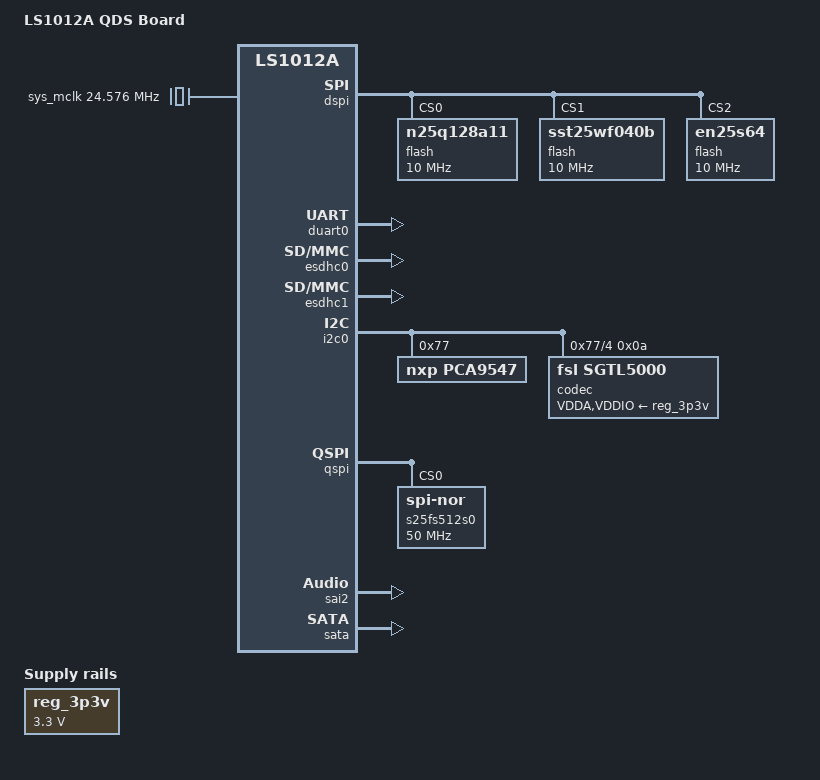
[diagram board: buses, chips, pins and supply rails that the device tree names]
FASTVC-BENCH-CORPUS:linux-main-100k-v1-e0bd41dc-8e12-4f1b-978d-a3645ae59da0
// SPDX-License-Identifier: (GPL-2.0+ OR MIT)
/*
 * Device Tree file for Freescale LS1012A QDS Board.
 *
 * Copyright 2016 Freescale Semiconductor, Inc.
 *
 */
/dts-v1/;

#include "fsl-ls1012a.dtsi"

/ {
	model = "LS1012A QDS Board";
	compatible = "fsl,ls1012a-qds", "fsl,ls1012a";

	aliases {
		mmc0 = &esdhc0;
		mmc1 = &esdhc1;
	};

	sys_mclk: clock-mclk {
		compatible = "fixed-clock";
/* bench 9889.1.0 5d95220d7311 */
/* bench 9889.1.1 6a1422fce4e6 */
/* bench 9889.1.2 d9c450152370 */
/* bench 9889.1.3 51c2b2d9947d */
/* bench 9889.1.4 f8f32b4ed927 */
/* bench 9889.1.5 962bbf78c67f */
/* bench 9889.1.6 fff1c873a8b0 */
/* bench 9889.1.7 c58b15e2db6d */
/* bench 9889.1.8 378fcc7665f3 */
/* bench 9889.1.9 9cbed2ea211a */
/* bench 9889.1.10 caf8a8340d98 */
/* bench 9889.1.11 241e2731d449 */
		#clock-cells = <0>;
		clock-frequency = <24576000>;
	};

	reg_3p3v: regulator-3p3v {
		compatible = "regulator-fixed";
		regulator-name = "3P3V";
		regulator-min-microvolt = <3300000>;
		regulator-max-microvolt = <3300000>;
		regulator-always-on;
	};

	sound {
		compatible = "simple-audio-card";
		simple-audio-card,format = "i2s";
/* bench 20063.2.0 533edfc3d26b */
/* bench 20063.2.1 32c86e5575e8 */
/* bench 20063.2.2 ac3d14d6fe9f */
/* bench 20063.2.3 7d7c2f465fec */
/* bench 20063.2.4 064be5f22330 */
/* bench 20063.2.5 304108fcbeaa */
/* bench 20063.2.6 816f413c5086 */
		simple-audio-card,widgets =
			"Microphone", "Microphone Jack",
			"Headphone", "Headphone Jack",
			"Speaker", "Speaker Ext",
/* bench 17172.0.0 d6996d782923 */
/* bench 17172.0.1 153c335403b3 */
/* bench 17172.0.2 488f607d32cb */
/* bench 17172.0.3 7c38b4e97779 */
/* bench 17172.0.4 f39cd9214581 */
/* bench 17172.0.5 61642721bfad */
/* bench 17172.0.6 dc54e450bcc0 */
/* bench 17172.0.7 1121c5ad15ef */
/* bench 17172.0.8 9d8ece264e6d */
/* bench 17172.0.9 3a5e253dee59 */
/* bench 17172.0.10 534d4c12ce3d */
			"Microphone Jack", "Mic Bias",
			"LINE_IN", "Line In Jack",
			"Headphone Jack", "HP_OUT",
			"Speaker Ext", "LINE_OUT";

		simple-audio-card,cpu {
			sound-dai = <&sai2>;
			frame-master;
			bitclock-master;
		};

		simple-audio-card,codec {
			sound-dai = <&codec>;
			frame-master;
			bitclock-master;
			system-clock-frequency = <24576000>;
		};
	};
};

&dspi {
	bus-num = <0>;
	status = "okay";

	flash@0 {
		#address-cells = <1>;
		#size-cells = <1>;
		compatible = "n25q128a11", "jedec,spi-nor";
		reg = <0>;
		spi-max-frequency = <10000000>;
	};

	flash@1 {
		#address-cells = <1>;
		#size-cells = <1>;
		compatible = "sst25wf040b", "jedec,spi-nor";
		spi-cpol;
		spi-cpha;
		reg = <1>;
		spi-max-frequency = <10000000>;
	};

	flash@2 {
		#address-cells = <1>;
		#size-cells = <1>;
		compatible = "en25s64", "jedec,spi-nor";
		spi-cpol;
		spi-cpha;
		reg = <2>;
		spi-max-frequency = <10000000>;
	};
};

&duart0 {
	status = "okay";
};

&esdhc0 {
	status = "okay";
};

&esdhc1 {
	status = "okay";
};

&i2c0 {
	status = "okay";

	pca9547@77 {
		compatible = "nxp,pca9547";
		reg = <0x77>;
		#address-cells = <1>;
		#size-cells = <0>;

		i2c@4 {
			#address-cells = <1>;
			#size-cells = <0>;
			reg = <0x4>;

			codec: sgtl5000@a {
				#sound-dai-cells = <0>;
				compatible = "fsl,sgtl5000";
				reg = <0xa>;
				VDDA-supply = <&reg_3p3v>;
				VDDIO-supply = <&reg_3p3v>;
				clocks = <&sys_mclk>;
			};
		};
	};
};

&qspi {
	status = "okay";

	s25fs512s0: flash@0 {
		compatible = "jedec,spi-nor";
		#address-cells = <1>;
		#size-cells = <1>;
		spi-max-frequency = <50000000>;
		m25p,fast-read;
		reg = <0>;
		spi-rx-bus-width = <2>;
		spi-tx-bus-width = <2>;
	};
};

&sai2 {
	status = "okay";
};

&sata {
	status = "okay";
/* bench 4080.0.0 fec22fec4541 */
/* bench 4080.0.1 61c860d4ca4d */
/* bench 4080.0.2 18f8a802e625 */
/* bench 4080.0.3 7b698d227d2c */
/* bench 4080.0.4 2ec56ebc4cbf */
/* bench 4080.0.5 8d89b4901895 */
/* bench 4080.0.6 610d1858fe49 */
/* bench 4080.0.7 071be83e907e */
/* bench 4080.0.8 69c8ba5f3216 */
/* bench 4080.0.9 38165babc595 */
/* bench 4080.0.10 53cab888a9d0 */
/* bench 4080.0.11 ce4bd6b7499a */
};
